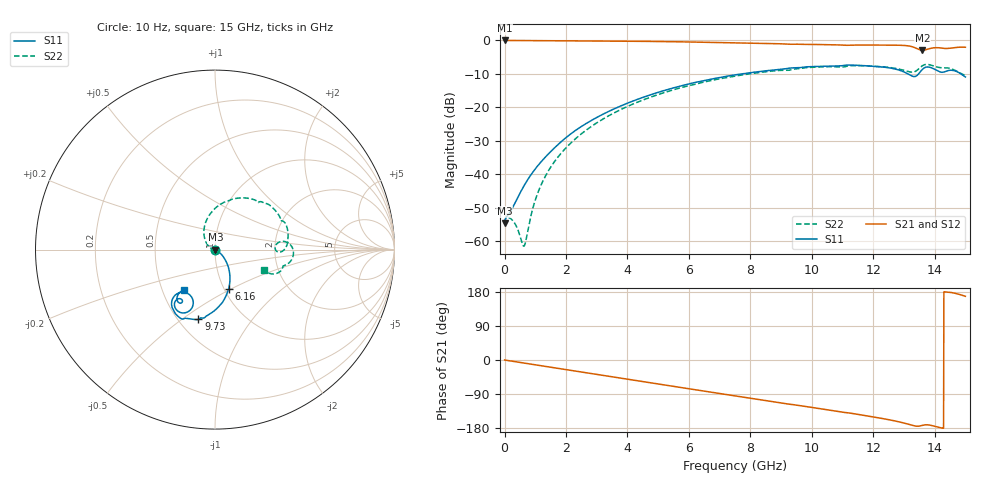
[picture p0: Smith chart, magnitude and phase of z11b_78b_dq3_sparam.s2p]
![Disclaimer] This software code/ model/ data and all associated documentation, comments
!    or other information (collectively "Software") is provided
!    "AS IS" without warranty of any kind. MICRON TECHNOLOGY, INC.
!   ("MTI") EXPRESSLY DISCLAIMS ALL WARRANTIES EXPRESS OR IMPLIED,
!    INCLUDING BUT NOT LIMITED TO, NONINFRINGEMENT OF THIRD PARTY
!   RIGHTS, AND ANY IMPLIED WARRANTIES OF MERCHANTABILITY OR FITNESS
!    FOR ANY PARTICULAR PURPOSE. MTI DOES NOT WARRANT THAT THE
!    SOFTWARE WILL MEET YOUR REQUIREMENTS, OR THAT THE OPERATION OF
!    THE SOFTWARE WILL BE UNINTERRUPTED OR ERROR-FREE. FURTHERMORE,
!    MTI DOES NOT MAKE ANY REPRESENTATIONS REGARDING THE USE OR THE
!    RESULTS OF THE USE OF THE SOFTWARE IN TERMS OF ITS CORRECTNESS,
!    ACCURACY, RELIABILITY, OR OTHERWISE. THE ENTIRE RISK ARISING OUT
!    OF USE OR PERFORMANCE OF THE SOFTWARE REMAINS WITH YOU. IN NO
!    EVENT SHALL MTI, ITS AFFILIATED COMPANIES OR THEIR SUPPLIERS BE
!    LIABLE FOR ANY DIRECT, INDIRECT, CONSEQUENTIAL, INCIDENTAL, OR
!    SPECIAL DAMAGES (INCLUDING, WITHOUT LIMITATION, DAMAGES FOR LOSS
!    OF PROFITS, BUSINESS INTERRUPTION, OR LOSS OF INFORMATION)
!    ARISING OUT OF YOUR USE OF OR INABILITY TO USE THE SOFTWARE,
!    EVEN IF MTI HAS BEEN ADVISED OF THE POSSIBILITY OF SUCH DAMAGES.
!    Because some jurisdictions prohibit the exclusion or limitation
!    of liability for consequential or incidental damages, the above
!    limitation may not apply to you.
!    Copyright 2019 Micron Technology, Inc. All rights reserved.
! Single-ended  S-parameters
!NUMBER OF PORTS = 2
!  PORT#  PORT_NAME  NET_NAME
! PORT1:  DQ3.BGA.VDDQ_VSS DQ3
! PORT2:  DQ3.Z11B_DIE.VDDQ_VSS DQ3
# HZ S  RI R 5.000000e+001
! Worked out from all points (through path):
!   1701 points, 10 Hz to 15 GHz, reference 50 ohm
!   highest |S21| = -0.02 dB at 5.412 kHz (marker M1); lowest = -3.0 dB at 13.6 GHz (marker M2)
!   group delay of S21, straight-line fit = 35 ps
!   lowest |S11| = -54.6 dB at 10 Hz (marker M3), VSWR 1.00, Z = 50.2 + j4.94e-08 ohm
!   |S11| at or under -10 dB: start of sweep to 7.733 GHz; 13.13 GHz to 13.48 GHz (351.1 MHz wide, 2.64 % of centre); 14.85 GHz to end of sweep
!   |S22| runs from -61.5 to -7.2 dB; largest |S21 - S12| = 0
!   S11 on the Smith chart (normalised r, x): 10 Hz: 1.00, +0.00; 6.16 GHz: 1.05, -0.49; 9.73 GHz: 0.63, -0.58; 15 GHz: 0.64, -0.32
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10  0.00186 4.92e-10  0.9981 -2.9e-09  0.9981 -2.9e-09  0.00186 4.94e-10
5411.7  0.00186 2.66e-07  0.9981 -1.57e-06  0.9981 -1.57e-06  0.00186 2.68e-07
6.30957e7  0.00232 6.82e-05  0.9974 -0.0146  0.9974 -0.0146  0.00227 9.4e-05
2.4e8  0.00302 -0.000373  0.9953 -0.0544  0.9953 -0.0544  0.00208 -0.000227
5.7e8  0.00568 -0.0019  0.9867 -0.1272  0.9867 -0.1272  0.00054 -0.000758
6.4e8  0.0064 -0.00238  0.9842 -0.1424  0.9842 -0.1424  -2.78e-06 -0.000851
9.8e8  0.0105 -0.00528  0.9691 -0.2149  0.9691 -0.2149  -0.00377 -0.00088
1.31e9  0.0153 -0.00886  0.9497 -0.2839  0.9497 -0.2839  -0.00904 0.000218
1.82e9  0.0252 -0.0163  0.9096 -0.3874  0.9096 -0.3874  -0.0195 0.00509
2.51e9  0.0406 -0.0327  0.8375 -0.5177  0.8375 -0.5177  -0.0357 0.0192
3.61e9  0.0647 -0.0721  0.684 -0.698  0.684 -0.698  -0.0576 0.0621
5.01e9  0.083 -0.1461  0.432 -0.8602  0.432 -0.8602  -0.054 0.1461
6.16e9  0.0754 -0.221  0.1981 -0.9233  0.1981 -0.9233  -0.00856 0.2185
7.51e9  0.0326 -0.3037  -0.0763 -0.9165  -0.0763 -0.9165  0.0888 0.2784
9.73e9  -0.0921 -0.3888  -0.4596 -0.7394  -0.4596 -0.7394  0.2911 0.2551
1.001e10  -0.1153 -0.3891  -0.5028 -0.711  -0.5028 -0.711  0.319 0.2353
1.251e10  -0.242 -0.3053  -0.7855 -0.3238  -0.7855 -0.3238  0.395 0.0128
1.332e10  -0.1542 -0.2434  -0.7847 -0.09  -0.7847 -0.09  0.3367 0.0195
1.36e10  -0.1417 -0.3405  -0.7034 -0.0924  -0.7034 -0.0924  0.4174 0.0297
1.393e10  -0.2259 -0.3102  -0.7653 -0.0884  -0.7653 -0.0884  0.4142 -0.0721
1.464e10  -0.2105 -0.2825  -0.7779 0.0474  -0.7779 0.0474  0.3347 -0.1349
1.5e10  -0.1727 -0.2255  -0.7733 0.1622  -0.7733 0.1622  0.2744 -0.1128
